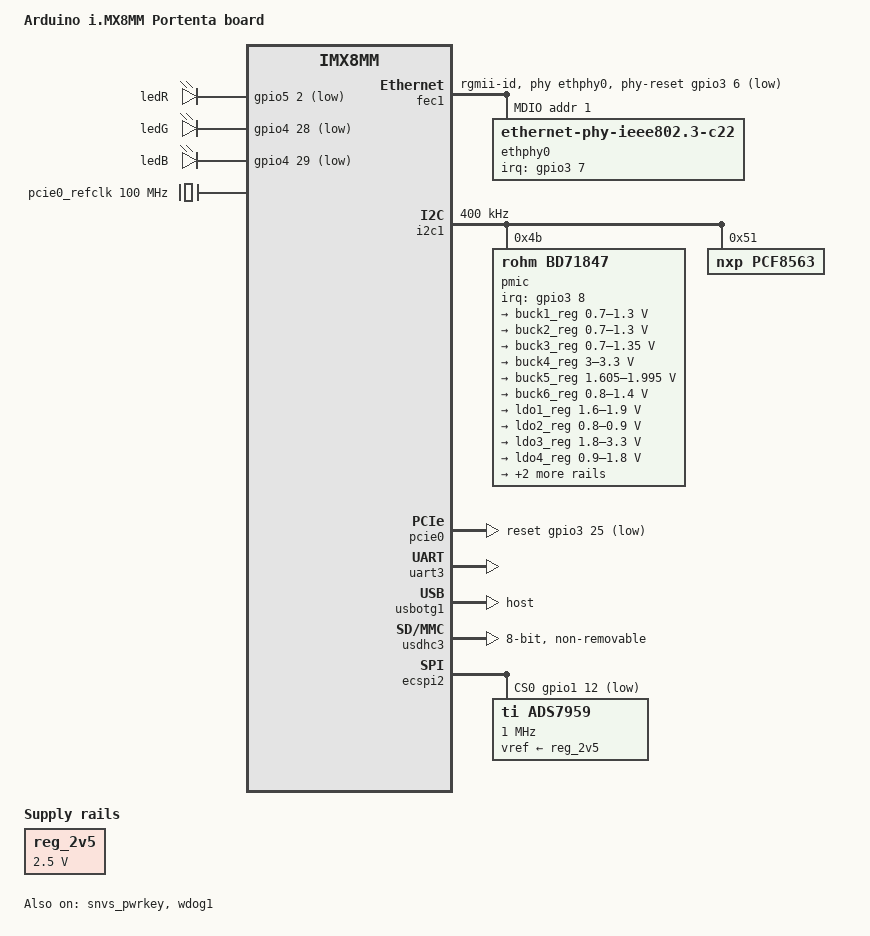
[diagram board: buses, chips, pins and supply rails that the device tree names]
/**
 * Portenta-M8 dtb main som overlay file
 * Arduino 2021
 */

/dts-v1/;

#include <dt-bindings/usb/pd.h>
#include "imx8mm.dtsi"
#include "anx7625.dtsi"
//#include "envie_enuc_carrier.dtsi"

//#define EMMC_HS /* Decomment to enable high speed emmc flash */

/ {
	model = "Arduino i.MX8MM Portenta board";
	compatible = "fsl,imx8mm-evk", "fsl,imx8mm";

	chosen {
		bootargs = "console=ttymxc2,115200 earlycon=ec_imx6q,0x30880000,115200";
		stdout-path = &uart3;
	};

	reserved-memory {
		#address-cells = <2>;
		#size-cells = <2>;
		ranges;

		rpmsg_reserved: rpmsg@0xb8000000 {
			no-map;
			reg = <0 0xb8000000 0 0x400000>;
		};
	};

	leds {
		compatible = "gpio-leds";
		pinctrl-names = "default";
		pinctrl-0 = <&pinctrl_gpio_led>;

		ledR {
			label = "ledR";
			gpios = <&gpio5 2 GPIO_ACTIVE_LOW>;
			default-state = "on";
		};

		ledG {
			label = "ledG";
			gpios = <&gpio4 28 GPIO_ACTIVE_LOW>;
			default-state = "on";
		};

		ledB {
			label = "ledB";
			gpios = <&gpio4 29 GPIO_ACTIVE_LOW>;
			default-state = "on";
		};
	};

	pcie0_refclk: pcie0-refclk {
		compatible = "fixed-clock";
		#clock-cells = <0>;
		clock-frequency = <100000000>;
	};

	reg_2v5: regulator-2v5 {
		compatible = "regulator-fixed";
		regulator-name = "2v5";
		regulator-min-microvolt = <2500000>;
		regulator-max-microvolt = <2500000>;
	};
};

&A53_0 {
	cpu-supply = <&buck2_reg>;
};

&fec1 {
	pinctrl-names = "default";
	pinctrl-0 = <&pinctrl_fec1>;
	phy-mode = "rgmii-id";
	phy-handle = <&ethphy0>;
	phy-reset-gpios = <&gpio3 6 GPIO_ACTIVE_LOW>;
	fsl,magic-packet;
	status = "okay";

	mdio {
		#address-cells = <1>;
		#size-cells = <0>;

		ethphy0: ethernet-phy@0 {
			compatible = "ethernet-phy-ieee802.3-c22";
			reg = <1>;
			interrupt-parent = <&gpio3>;
			interrupts = <7 0>;
		};
	};
};

&i2c1 {
	clock-frequency = <400000>;
	pinctrl-names = "default";
	pinctrl-0 = <&pinctrl_i2c1>;
	status = "okay";

	pmic:pmic@4b {
		compatible = "rohm,bd71847";
		reg = <0x4b>;
		pinctrl-0 = <&pinctrl_pmic>;
		interrupt-parent = <&gpio3>;
		interrupts = <8 GPIO_ACTIVE_LOW>;
		rohm,reset-snvs-powered;
		clocks = <&pcf8563>;

		regulators {
			buck1_reg: BUCK1 {
				regulator-name = "BUCK1";
				regulator-min-microvolt = <700000>;
				regulator-max-microvolt = <1300000>;
				regulator-boot-on;
				regulator-always-on;
				regulator-ramp-delay = <1250>;
			};

			buck2_reg: BUCK2 {
				regulator-name = "BUCK2";
				regulator-min-microvolt = <700000>;
				regulator-max-microvolt = <1300000>;
				regulator-boot-on;
				regulator-always-on;
				regulator-ramp-delay = <1250>;
				rohm,dvs-run-voltage = <1000000>;
				rohm,dvs-idle-voltage = <900000>;
			};

			buck3_reg: BUCK3 {
				// BUCK5 in datasheet
				regulator-name = "BUCK3";
				regulator-min-microvolt = <700000>;
				regulator-max-microvolt = <1350000>;
				regulator-boot-on;
				regulator-always-on;
			};

			buck4_reg: BUCK4 {
				// BUCK6 in datasheet
				regulator-name = "BUCK4";
				regulator-min-microvolt = <3000000>;
				regulator-max-microvolt = <3300000>;
				regulator-boot-on;
				regulator-always-on;
			};

			buck5_reg: BUCK5 {
				// BUCK7 in datasheet
				regulator-name = "BUCK5";
				regulator-min-microvolt = <1605000>;
				regulator-max-microvolt = <1995000>;
				regulator-boot-on;
				regulator-always-on;
			};

			buck6_reg: BUCK6 {
				// BUCK8 in datasheet
				regulator-name = "BUCK6";
				regulator-min-microvolt = <800000>;
				regulator-max-microvolt = <1400000>;
				regulator-boot-on;
				regulator-always-on;
			};

			ldo1_reg: LDO1 {
				regulator-name = "LDO1";
				regulator-min-microvolt = <1600000>;
				regulator-max-microvolt = <1900000>;
				regulator-boot-on;
				regulator-always-on;
			};

			ldo2_reg: LDO2 {
				regulator-name = "LDO2";
				regulator-min-microvolt = <800000>;
				regulator-max-microvolt = <900000>;
				regulator-boot-on;
				regulator-always-on;
			};

			ldo3_reg: LDO3 {
				regulator-name = "LDO3";
				regulator-min-microvolt = <1800000>;
				regulator-max-microvolt = <3300000>;
				regulator-boot-on;
				regulator-always-on;
			};

			ldo4_reg: LDO4 {
				regulator-name = "LDO4";
				regulator-min-microvolt = <900000>;
				regulator-max-microvolt = <1800000>;
				regulator-boot-on;
				regulator-always-on;
			};

			ldo5_reg: LDO5 {
				regulator-name = "LDO5";
				regulator-min-microvolt = <3000000>;
				regulator-max-microvolt = <3000000>;
				regulator-boot-on;
				regulator-always-on;
			};

			ldo6_reg: LDO6 {
				regulator-name = "LDO6";
				regulator-min-microvolt = <900000>;
				regulator-max-microvolt = <1800000>;
				regulator-boot-on;
				regulator-always-on;
			};
		};
	};

	pcf8563: pcf8563@51 {
		compatible = "nxp,pcf8563";
		reg = <0x51>;
		#clock-cells = <0>;
	};

};

&pcie0{
	pinctrl-names = "default";
	pinctrl-0 = <&pinctrl_pcie0>;
	/*disable-gpio = <&gpio1 5 GPIO_ACTIVE_LOW>;*/
	reset-gpio = <&gpio3 25 GPIO_ACTIVE_LOW>;
	clocks = <&clk IMX8MM_CLK_PCIE1_ROOT>,
		 <&clk IMX8MM_CLK_PCIE1_AUX>,
		 <&clk IMX8MM_CLK_PCIE1_PHY>,
		 <&pcie0_refclk>;
	clock-names = "pcie", "pcie_aux", "pcie_phy", "pcie_bus";
	ext_osc = <0>;
	reserved-region = <&rpmsg_reserved>;
	status = "okay";
};

&snvs_pwrkey {
	status = "okay";
};

&uart3 { /* console */
	pinctrl-names = "default";
	pinctrl-0 = <&pinctrl_uart3>;
	assigned-clocks = <&clk IMX8MM_CLK_UART3>;
	assigned-clock-parents = <&clk IMX8MM_SYS_PLL1_80M>;
	/*fsl,uart-has-rtscts;*/
	status = "okay";
};

&usbotg1 { /* usbc */
	dr_mode = "host";
	hnp-disable;
	srp-disable;
	adp-disable;
	usb-role-switch;
	status = "okay";
};

&usdhc3 { /* emmc flash */
#if defined(EMMC_HS)
	pinctrl-names = "default", "state_100mhz", "state_200mhz";
	pinctrl-0 = <&pinctrl_usdhc3>;
	pinctrl-1 = <&pinctrl_usdhc3_100mhz>;
	pinctrl-2 = <&pinctrl_usdhc3_200mhz>;
#else
	pinctrl-names = "default";
	pinctrl-0 = <&pinctrl_usdhc3>;
#endif
	bus-width = <8>;
	non-removable;
	status = "okay";
};

&wdog1 {
	pinctrl-names = "default";
	pinctrl-0 = <&pinctrl_wdog>;
	fsl,ext-reset-output;
	status = "okay";
};

&iomuxc {
	pinctrl-names = "default";
	imx8mm {
		pinctrl_fec1: fec1grp {
			fsl,pins = <
				MX8MM_IOMUXC_ENET_MDC_ENET1_MDC				0x3
				MX8MM_IOMUXC_ENET_MDIO_ENET1_MDIO			0x3
				MX8MM_IOMUXC_ENET_TD3_ENET1_RGMII_TD3		0x1f
				MX8MM_IOMUXC_ENET_TD2_ENET1_RGMII_TD2		0x1f
				MX8MM_IOMUXC_ENET_TD1_ENET1_RGMII_TD1		0x1f
				MX8MM_IOMUXC_ENET_TD0_ENET1_RGMII_TD0		0x1f
				MX8MM_IOMUXC_ENET_RD3_ENET1_RGMII_RD3		0x91
				MX8MM_IOMUXC_ENET_RD2_ENET1_RGMII_RD2		0x91
				MX8MM_IOMUXC_ENET_RD1_ENET1_RGMII_RD1		0x91
				MX8MM_IOMUXC_ENET_RD0_ENET1_RGMII_RD0		0x91
				MX8MM_IOMUXC_ENET_TXC_ENET1_RGMII_TXC		0x1f
				MX8MM_IOMUXC_ENET_RXC_ENET1_RGMII_RXC		0x91
				MX8MM_IOMUXC_ENET_RX_CTL_ENET1_RGMII_RX_CTL	0x91
				MX8MM_IOMUXC_ENET_TX_CTL_ENET1_RGMII_TX_CTL	0x1f
				MX8MM_IOMUXC_NAND_DATA00_GPIO3_IO6			0x16
				MX8MM_IOMUXC_NAND_DATA01_GPIO3_IO7			0x41
			>;
		};

		pinctrl_gpio_led: gpioledgrp {
			fsl,pins = <
				MX8MM_IOMUXC_SAI3_MCLK_GPIO5_IO2	0x19
				MX8MM_IOMUXC_SAI3_RXFS_GPIO4_IO28	0x19
				MX8MM_IOMUXC_SAI3_RXC_GPIO4_IO29	0x19
			>;
		};

		pinctrl_i2c1: i2c1grp {
			fsl,pins = <
				MX8MM_IOMUXC_I2C1_SCL_I2C1_SCL			0x400001c3
				MX8MM_IOMUXC_I2C1_SDA_I2C1_SDA			0x400001c3
			>;
		};

		pinctrl_pcie0: pcie0grp {
			fsl,pins = <
				MX8MM_IOMUXC_SAI5_MCLK_GPIO3_IO25     0x41  // PCIE_nRST
			>;
		};

		pinctrl_pmic: pmicirq {
			fsl,pins = <
				MX8MM_IOMUXC_NAND_DATA02_GPIO3_IO8		0x41
			>;
		};

		pinctrl_uart3: uart3grp {
			fsl,pins = <
				MX8MM_IOMUXC_ECSPI1_SCLK_UART3_DCE_RX		0x140
				MX8MM_IOMUXC_ECSPI1_MOSI_UART3_DCE_TX		0x140
				MX8MM_IOMUXC_ECSPI1_SS0_UART3_DCE_RTS_B		0x140
				MX8MM_IOMUXC_ECSPI1_MISO_UART3_DCE_CTS_B	0x140
			>;
		};

		pinctrl_usdhc3: usdhc3grp {
			fsl,pins = <
				MX8MM_IOMUXC_NAND_WE_B_USDHC3_CLK			0x190
				MX8MM_IOMUXC_NAND_WP_B_USDHC3_CMD			0x1d0
				MX8MM_IOMUXC_NAND_DATA04_USDHC3_DATA0		0x1d0
				MX8MM_IOMUXC_NAND_DATA05_USDHC3_DATA1		0x1d0
				MX8MM_IOMUXC_NAND_DATA06_USDHC3_DATA2		0x1d0
				MX8MM_IOMUXC_NAND_DATA07_USDHC3_DATA3		0x1d0
				MX8MM_IOMUXC_NAND_RE_B_USDHC3_DATA4			0x1d0
				MX8MM_IOMUXC_NAND_CE2_B_USDHC3_DATA5		0x1d0
				MX8MM_IOMUXC_NAND_CE3_B_USDHC3_DATA6		0x1d0
				MX8MM_IOMUXC_NAND_CLE_USDHC3_DATA7			0x1d0
				MX8MM_IOMUXC_NAND_CE1_B_USDHC3_STROBE 		0x190
			>;
		};

		pinctrl_usdhc3_100mhz: usdhc3grp100mhz {
			fsl,pins = <
				MX8MM_IOMUXC_NAND_WE_B_USDHC3_CLK			0x194
				MX8MM_IOMUXC_NAND_WP_B_USDHC3_CMD			0x1d4
				MX8MM_IOMUXC_NAND_DATA04_USDHC3_DATA0		0x1d4
				MX8MM_IOMUXC_NAND_DATA05_USDHC3_DATA1		0x1d4
				MX8MM_IOMUXC_NAND_DATA06_USDHC3_DATA2		0x1d4
				MX8MM_IOMUXC_NAND_DATA07_USDHC3_DATA3		0x1d4
				MX8MM_IOMUXC_NAND_RE_B_USDHC3_DATA4			0x1d4
				MX8MM_IOMUXC_NAND_CE2_B_USDHC3_DATA5		0x1d4
				MX8MM_IOMUXC_NAND_CE3_B_USDHC3_DATA6		0x1d4
				MX8MM_IOMUXC_NAND_CLE_USDHC3_DATA7			0x1d4
				MX8MM_IOMUXC_NAND_CE1_B_USDHC3_STROBE 		0x194
			>;
		};

		pinctrl_usdhc3_200mhz: usdhc3grp200mhz {
			fsl,pins = <
				MX8MM_IOMUXC_NAND_WE_B_USDHC3_CLK			0x196
				MX8MM_IOMUXC_NAND_WP_B_USDHC3_CMD			0x1d6
				MX8MM_IOMUXC_NAND_DATA04_USDHC3_DATA0		0x1d6
				MX8MM_IOMUXC_NAND_DATA05_USDHC3_DATA1		0x1d6
				MX8MM_IOMUXC_NAND_DATA06_USDHC3_DATA2		0x1d6
				MX8MM_IOMUXC_NAND_DATA07_USDHC3_DATA3		0x1d6
				MX8MM_IOMUXC_NAND_RE_B_USDHC3_DATA4			0x1d6
				MX8MM_IOMUXC_NAND_CE2_B_USDHC3_DATA5		0x1d6
				MX8MM_IOMUXC_NAND_CE3_B_USDHC3_DATA6		0x1d6
				MX8MM_IOMUXC_NAND_CLE_USDHC3_DATA7			0x1d6
				MX8MM_IOMUXC_NAND_CE1_B_USDHC3_STROBE 		0x196
			>;
		};

		pinctrl_ecspi2: ecspi2grp {
			fsl,pins = <
				MX8MM_IOMUXC_ECSPI2_SCLK_ECSPI2_SCLK        0x82
				MX8MM_IOMUXC_ECSPI2_MOSI_ECSPI2_MOSI        0x82
				MX8MM_IOMUXC_ECSPI2_MISO_ECSPI2_MISO        0x82
			>;
		};

		pinctrl_ecspi2_cs: ecspi2cs {
			fsl,pins = <
				MX8MM_IOMUXC_ECSPI2_SS0_GPIO5_IO13          0x40000
			>;
		};

		pinctrl_ecspi2_cs_adc: ecspi2csadc {
			fsl,pins = <
				MX8MM_IOMUXC_GPIO1_IO12_GPIO1_IO12          0x40000
			>;
		};

		pinctrl_wdog: wdoggrp {
			fsl,pins = <
				MX8MM_IOMUXC_GPIO1_IO02_WDOG1_WDOG_B		0xc6
			>;
		};
	};
};

&ecspi2 {
	#address-cells = <1>;
	#size-cells = <0>;
	pinctrl-names = "default";
	pinctrl-0 = <&pinctrl_ecspi2 &pinctrl_ecspi2_cs_adc &pinctrl_ecspi2_cs>;
	num-cs = <2>;
	cs-gpios = <&gpio1 12 GPIO_ACTIVE_LOW>, <&gpio5 13 GPIO_ACTIVE_LOW>;
	status = "okay";

	ads7959: ads7959@0 {
		#address-cells = <1>;
		#size-cells = <1>;
		compatible = "ti,ads7959";
		reg = <0>;
		#io-channel-cells = <1>;
		vref-supply = <&reg_2v5>;
		spi-max-frequency = <1000000>;
	};
};
